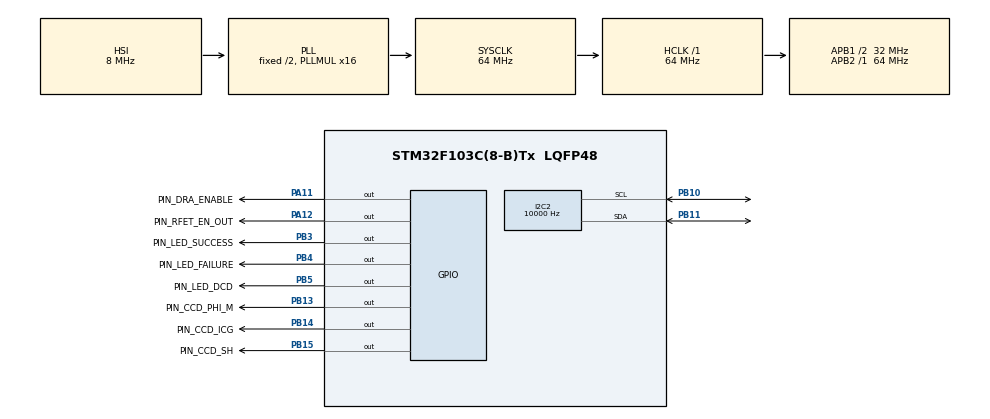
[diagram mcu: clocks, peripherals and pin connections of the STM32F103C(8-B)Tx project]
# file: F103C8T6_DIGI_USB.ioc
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I2C2.ClockSpeed=10000
Mcu.Family=STM32F1
Mcu.Name=STM32F103C(8-B)Tx
Mcu.Package=LQFP48
NVIC.PriorityGroup=NVIC_PRIORITYGROUP_4
PA11.GPIO_Label=PIN_DRA_ENABLE
PA11.Signal=GPIO_Output
PA12.GPIO_Label=PIN_RFET_EN_OUT
PA12.Signal=GPIO_Output
PA13.Mode=Serial_Wire
PA13.Signal=SYS_JTMS-SWDIO
PA14.Mode=Serial_Wire
PA14.Signal=SYS_JTCK-SWCLK
PB10.Mode=I2C
PB10.Signal=I2C2_SCL
PB11.Mode=I2C
PB11.Signal=I2C2_SDA
PB13.GPIO_Label=PIN_CCD_PHI_M
PB13.Signal=GPIO_Output
PB14.GPIO_Label=PIN_CCD_ICG
PB14.Signal=GPIO_Output
PB15.GPIO_Label=PIN_CCD_SH
PB15.Signal=GPIO_Output
PB3.GPIO_Label=PIN_LED_SUCCESS
PB3.Signal=GPIO_Output
PB4.GPIO_Label=PIN_LED_FAILURE
PB4.Signal=GPIO_Output
PB5.GPIO_Label=PIN_LED_DCD
PB5.Signal=GPIO_Output
ProjectManager.HeapSize=0x200
ProjectManager.StackSize=0x400
ProjectManager.TargetToolchain=STM32CubeIDE
RCC.AHBFreq_Value=64000000
RCC.APB1CLKDivider=RCC_HCLK_DIV2
RCC.APB1Freq_Value=32000000
RCC.APB1TimFreq_Value=64000000
RCC.APB2Freq_Value=64000000
RCC.APB2TimFreq_Value=64000000
RCC.HCLKFreq_Value=64000000
RCC.PLLMUL=RCC_PLL_MUL16
RCC.SYSCLKFreq_VALUE=64000000
RCC.SYSCLKSource=RCC_SYSCLKSOURCE_PLLCLK
RCC.USBFreq_Value=42666666.666666664
RCC.USBPrescaler=RCC_USBCLKSOURCE_PLL_DIV1_5
board=custom

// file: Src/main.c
/* USER CODE BEGIN Header */
/**
  ******************************************************************************
  * @file           : main.c
  * @brief          : Main program body
  ******************************************************************************
  * @attention
  *
  * <h2><center>&copy; Copyright (c) 2020 STMicroelectronics.
  * All rights reserved.</center></h2>
  *
  * This software component is licensed by ST under Ultimate Liberty license
  * SLA0044, the "License"; You may not use this file except in compliance with
  * the License. You may obtain a copy of the License at:
  *                             www.st.com/SLA0044
  *
  ******************************************************************************
  */
/*
This file is part of VP-Digi.

VP-Digi is free software: you can redistribute it and/or modify
it under the terms of the GNU General Public License as published by
the Free Software Foundation; either version 3 of the License, or
(at your option) any later version.

VP-Digi is distributed in the hope that it will be useful,
but WITHOUT ANY WARRANTY; without even the implied warranty of
MERCHANTABILITY or FITNESS FOR A PARTICULAR PURPOSE.  See the
GNU General Public License for more details.

You should have received a copy of the GNU General Public License
along with VP-Digi.  If not, see <http://www.gnu.org/licenses/>.
*/
/* USER CODE END Header */
#include "main.h"

/* USER CODE BEGIN Includes */
#include "drivers/modem.h"
#include "ax25.h"
#include "drivers/uart.h"
#include "drivers/systick.h"
#include "stm32f1xx.h"
#include "digipeater.h"
#include "common.h"
#include "drivers/watchdog.h"
#include "beacon.h"
#include "terminal.h"
#include "config.h"
#include "default_settings.h"
#include "common.h"
#include "dra_system.h"
#include "mboss_handler.h"
#include "sys_reboot_reason.h"
#include "frame_handler.h"
#include "experiments.h"
#include "experiment_ccd.h"

#include <stdint.h>
#include <string.h>

/* USER CODE END Includes */

I2C_HandleTypeDef hi2c2;

void SystemClock_Config(void);
static void MX_GPIO_Init(void);
static void MX_I2C2_Init(void);

int main(void)
{

  /* MCU Configuration--------------------------------------------------------*/

  /* Reset of all peripherals, Initializes the Flash interface and the Systick. */
  HAL_Init();

  /* Configure the system clock */
  SystemClock_Config();

  /* USER CODE BEGIN SysInit */

  SysTick_init();

  /* USER CODE END SysInit */

  /* Initialize all configured peripherals */
  MX_GPIO_Init();
  MX_I2C2_Init();
  /* USER CODE BEGIN 2 */

	Wdog_init(); //initialize watchdog

  // flash code on-off-on-off for "boot complete"
  for (uint8_t i = 0; i < 2; i++) {
      HAL_GPIO_WritePin(PIN_LED_SUCCESS_GPIO_Port, PIN_LED_SUCCESS_Pin, GPIO_PIN_SET);
      HAL_GPIO_WritePin(PIN_LED_FAILURE_GPIO_Port, PIN_LED_FAILURE_Pin, GPIO_PIN_RESET);
      delay_ms(250);
      HAL_GPIO_WritePin(PIN_LED_SUCCESS_GPIO_Port, PIN_LED_SUCCESS_Pin, GPIO_PIN_RESET);
      HAL_GPIO_WritePin(PIN_LED_FAILURE_GPIO_Port, PIN_LED_FAILURE_Pin, GPIO_PIN_SET);
      delay_ms(250);
  }

	//set some initial values in case there is no configuration saved in memory
	uart1.baudrate = DEFAULT_UART1_BAUD_RATE;
	uart2.baudrate = DEFAULT_UART2_BAUD_RATE;
	afskCfg.usePWM = 0;
	afskCfg.flatAudioIn = 0;
	ax25Cfg.quietTime = 300;
	ax25Cfg.txDelayLength = 300;
	ax25Cfg.txTailLength = 30;
	digi.dupeTime = 30;

	Config_read();

	Ax25_init();

	uart_init(&uart1, USART1, uart1.baudrate);
	uart_init(&uart2, USART2, uart2.baudrate);

	uart_config(&uart1, 1);
	uart_config(&uart2, 1);

	Afsk_init();
	Beacon_init();

  write_radfet_enable(0);
  set_resting_ccd_state(); // lowest power state

	// store reset reason at boot, because it can only be fetched once via `reset_cause_get()`
	this_boot_reset_cause = reset_cause_get();

  #if 0 // FIXME: just for testing
  init_ccd_adc();

  delay_ms(1000);

  //uint8_t fetched_data[CCD_DATA_LEN_BYTES];
  while (1) {
    //query_ccd_measurement(fetched_data, 1);

    fetch_ccd_measurement_and_log_it(2);

    // delay_ms(1000);
    // Wdog_reset();

    for (uint16_t i = 0; i < 1000; i++) { // 10,000 gives 7.5ms (1.3 MHz?)
      asm("NOP");
    }
  }

  #endif

  // These ADC inits are called directly when they're neede to save power on boot
  //init_ccd_adc();
  //init_adc_radfets();

	send_str_to_mboss("INFO: boot complete");

	autoResetTimer = autoReset * 360000;

  /* USER CODE END 2 */

  /* Infinite loop */
  while (1)
  {

    /* USER CODE BEGIN 3 */
	Wdog_reset();

	if(ax25.frameReceived) {
		handleFrame();
	}

	Digi_viscousRefresh(); //refresh viscous-delay buffers

	Ax25_transmitBuffer(); //transmit buffer (will return if nothing to be transmitted)

	Ax25_transmitCheck(); //check for pending transmission request

	Loop_process_incoming_uart_commands(1, 1);

	Beacon_check(); //check beacons

  loop_service_ccd_experiment();

  // turn off success/failure LED, if it's been long enough
  if (get_system_uptime_ms() - uptime_at_last_success_failure_led_on > LED_SUCCESS_FAILURE_MIN_TIME_ON_MS) {
    HAL_GPIO_WritePin(PIN_LED_FAILURE_GPIO_Port, PIN_LED_FAILURE_Pin, GPIO_PIN_RESET);
	  HAL_GPIO_WritePin(PIN_LED_SUCCESS_GPIO_Port, PIN_LED_SUCCESS_Pin, GPIO_PIN_RESET);
  }

  if (get_system_uptime_ms() - timestamp_rx_led_turned_on_ms > LED_SUCCESS_FAILURE_MIN_TIME_ON_MS) {
    set_packet_received_led(0);
  }

	if(((autoResetTimer != 0) && (ticks > autoResetTimer)) || (ticks > 4294960000)) {
		// auto-reset timer expired, or ticks overflowed
		send_str_to_mboss("INFO: auto-reset timer expired. Resetting.");
		NVIC_SystemReset();
	}

  }
  /* USER CODE END 3 */
}

void SystemClock_Config(void)
{
  RCC_OscInitTypeDef RCC_OscInitStruct = {0};
  RCC_ClkInitTypeDef RCC_ClkInitStruct = {0};

  /** Initializes the RCC Oscillators according to the specified parameters
  * in the RCC_OscInitTypeDef structure.
  */
  RCC_OscInitStruct.OscillatorType = RCC_OSCILLATORTYPE_HSI;
  RCC_OscInitStruct.HSIState = RCC_HSI_ON;
  RCC_OscInitStruct.HSICalibrationValue = RCC_HSICALIBRATION_DEFAULT;
  RCC_OscInitStruct.PLL.PLLState = RCC_PLL_ON;
  RCC_OscInitStruct.PLL.PLLSource = RCC_PLLSOURCE_HSI_DIV2;
  RCC_OscInitStruct.PLL.PLLMUL = RCC_PLL_MUL16;
  if (HAL_RCC_OscConfig(&RCC_OscInitStruct) != HAL_OK)
  {
    Error_Handler();
  }

  /** Initializes the CPU, AHB and APB buses clocks
  */
  RCC_ClkInitStruct.ClockType = RCC_CLOCKTYPE_HCLK|RCC_CLOCKTYPE_SYSCLK
                              |RCC_CLOCKTYPE_PCLK1|RCC_CLOCKTYPE_PCLK2;
  RCC_ClkInitStruct.SYSCLKSource = RCC_SYSCLKSOURCE_PLLCLK;
  RCC_ClkInitStruct.AHBCLKDivider = RCC_SYSCLK_DIV1;
  RCC_ClkInitStruct.APB1CLKDivider = RCC_HCLK_DIV2;
  RCC_ClkInitStruct.APB2CLKDivider = RCC_HCLK_DIV1;

  if (HAL_RCC_ClockConfig(&RCC_ClkInitStruct, FLASH_LATENCY_2) != HAL_OK)
  {
    Error_Handler();
  }
}

static void MX_I2C2_Init(void)
{

  hi2c2.Instance = I2C2;
  hi2c2.Init.ClockSpeed = 10000;
  hi2c2.Init.DutyCycle = I2C_DUTYCYCLE_2;
  hi2c2.Init.OwnAddress1 = 0;
  hi2c2.Init.AddressingMode = I2C_ADDRESSINGMODE_7BIT;
  hi2c2.Init.DualAddressMode = I2C_DUALADDRESS_DISABLE;
  hi2c2.Init.OwnAddress2 = 0;
  hi2c2.Init.GeneralCallMode = I2C_GENERALCALL_DISABLE;
  hi2c2.Init.NoStretchMode = I2C_NOSTRETCH_DISABLE;
  if (HAL_I2C_Init(&hi2c2) != HAL_OK)
  {
    Error_Handler();
  }

}

static void MX_GPIO_Init(void)
{
  GPIO_InitTypeDef GPIO_InitStruct = {0};

  /* GPIO Ports Clock Enable */
  __HAL_RCC_GPIOB_CLK_ENABLE();
  __HAL_RCC_GPIOA_CLK_ENABLE();

  /*Configure GPIO pin Output Level */
  HAL_GPIO_WritePin(GPIOB, PIN_CCD_PHI_M_Pin|PIN_CCD_ICG_Pin|PIN_CCD_SH_Pin|PIN_LED_SUCCESS_Pin
                          |PIN_LED_FAILURE_Pin|PIN_LED_DCD_Pin, GPIO_PIN_RESET);

  /*Configure GPIO pin Output Level */
  HAL_GPIO_WritePin(GPIOA, PIN_DRA_ENABLE_Pin|PIN_RFET_EN_OUT_Pin, GPIO_PIN_RESET);

  /*Configure GPIO pins : PIN_CCD_PHI_M_Pin PIN_CCD_ICG_Pin PIN_CCD_SH_Pin PIN_LED_SUCCESS_Pin
                           PIN_LED_FAILURE_Pin PIN_LED_DCD_Pin */
  GPIO_InitStruct.Pin = PIN_CCD_PHI_M_Pin|PIN_CCD_ICG_Pin|PIN_CCD_SH_Pin|PIN_LED_SUCCESS_Pin
                          |PIN_LED_FAILURE_Pin|PIN_LED_DCD_Pin;
  GPIO_InitStruct.Mode = GPIO_MODE_OUTPUT_PP;
  GPIO_InitStruct.Pull = GPIO_NOPULL;
  GPIO_InitStruct.Speed = GPIO_SPEED_FREQ_LOW;
  HAL_GPIO_Init(GPIOB, &GPIO_InitStruct);

  /*Configure GPIO pins : PIN_DRA_ENABLE_Pin PIN_RFET_EN_OUT_Pin */
  GPIO_InitStruct.Pin = PIN_DRA_ENABLE_Pin|PIN_RFET_EN_OUT_Pin;
  GPIO_InitStruct.Mode = GPIO_MODE_OUTPUT_PP;
  GPIO_InitStruct.Pull = GPIO_NOPULL;
  GPIO_InitStruct.Speed = GPIO_SPEED_FREQ_LOW;
  HAL_GPIO_Init(GPIOA, &GPIO_InitStruct);

}

void Error_Handler(void)
{
}
